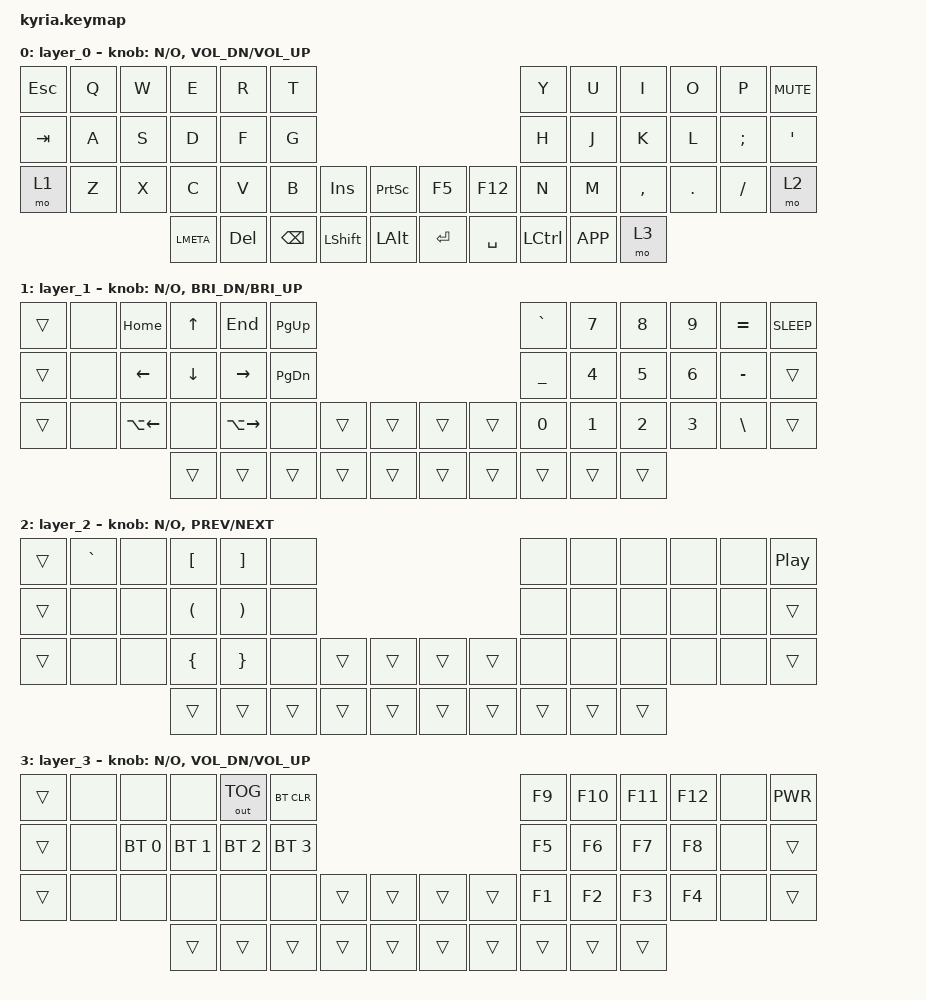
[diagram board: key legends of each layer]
/*
 * Copyright (c) 2020 The ZMK Contributors
 *
 * SPDX-License-Identifier: MIT
 */

#include <behaviors.dtsi>
#include <dt-bindings/zmk/keys.h>
#include <dt-bindings/zmk/bt.h>
#include <dt-bindings/zmk/outputs.h>

// Remap the bad row-0 pin on right board:
// See: https://discord.com/channels/675924128108118016/741329942771662909/1210262459915702343
// Copied from: https://github.com/zmkfirmware/zmk/tree/main/app/boards/shields/kyria/
// files: 
&kscan0 {
	row-gpios =
		// Changed "&pro_micro 4" to "&pro_micro 3", trying to use the unused SCL pin
		// Since the D4 pin for row 0 is dead.
		// The pin is labelled SCL/D0 on the PCB backside, and 020 on the controller, D3 on pinout.
		// Then I plan to just short D3 and row 0 and hope it works.
		<&pro_micro 3 (GPIO_ACTIVE_HIGH | GPIO_PULL_DOWN)>,
		<&pro_micro 5 (GPIO_ACTIVE_HIGH | GPIO_PULL_DOWN)>,
		<&pro_micro 6 (GPIO_ACTIVE_HIGH | GPIO_PULL_DOWN)>,
		<&pro_micro 7 (GPIO_ACTIVE_HIGH | GPIO_PULL_DOWN)>;
};


/* &bt (bluetooth) reference
 * BT_CLR	Clear bond information between the keyboard and host for the selected profile.
 * BT_NXT	Switch to the next profile, cycling through to the first one when the end is reached.
 * BT_PRV	Switch to the previous profile, cycling through to the last one when the beginning is reached.
 * BT_SEL	Select the 0-indexed profile by number. Please note: this definition must include a number as an argument in the keymap to work correctly. eg. BT_SEL 0
 */

// keymap info: https://zmk.dev/docs/features/keymaps
// keymap codes: https://zmk.dev/docs/codes

/ {
// 	// example combos from docs:
// 	combos {
// 		compatible = "zmk,combos";
// 		combo_esc {
// 			timeout-ms = <50>;
// 			key-positions = <0 1>;
// 			bindings = <&kp ESC>;
// 		};
// 	};
	
	// make it so that holding both layers 1 and 2 becomes layer 3
	conditional_layers {
		compatible = "zmk,conditional-layers";
		tri_layer {
			if-layers = <1 2>;
			then-layer = <3>;
		};
	};
	
	keymap {
// no I'm not tabbing these an extra 8-16 characters longer than they already are
compatible = "zmk,keymap";



layer_0 { // the default layer
bindings = <
// ╭──────────┬──────────┬──────────┬──────────┬──────────┬──────────╮                                               ╭──────────┬──────────┬──────────┬──────────┬──────────┬──────────╮
     &kp ESC     &kp Q      &kp W      &kp E      &kp R      &kp T                                                      &kp Y      &kp U      &kp I      &kp O      &kp P    &kp C_MUTE
// ├──────────┼──────────┼──────────┼──────────┼──────────┼──────────┤                                               ├──────────┼──────────┼──────────┼──────────┼──────────┼──────────┤
     &kp TAB     &kp A      &kp S      &kp D      &kp F      &kp G                                                      &kp H      &kp J      &kp K      &kp L     &kp SEMI   &kp SQT
// ├──────────┼──────────┼──────────┼──────────┼──────────┼──────────┼──────────┬──────────╮   ╭──────────┬──────────┼──────────┼──────────┼──────────┼──────────┼──────────┼──────────┤
      &mo 1      &kp Z      &kp X      &kp C      &kp V      &kp B     &kp INS   &kp PSCRN        &kp F5    &kp F12     &kp N      &kp M    &kp COMMA   &kp DOT    &kp FSLH    &mo 2
// ╰──────────┴──────────┴──────────┼──────────┼──────────┼──────────┼──────────┼──────────┤   ├──────────┼──────────┼──────────┼──────────┼──────────┼──────────┴──────────┴──────────╯
                                     &kp LMETA   &kp DEL    &kp BSPC  &kp LSHFT   &kp LALT      &kp ENTER  &kp SPACE  &kp LCTRL  &kp K_APP    &mo 3
//                                  ╰──────────┴──────────┴──────────┴──────────┴──────────╯   ╰──────────┴──────────┴──────────┴──────────┴──────────╯
>;
sensor-bindings = <&inc_dec_kp N O &inc_dec_kp C_VOL_DN C_VOL_UP>; // volume up/down and mute (knob is on top right corner - NO left side knob)
};



layer_1 { // navigation and numbers (includes symbols on numbers, although some will be repeated elsewhere)
bindings = <
// ╭──────────┬──────────┬──────────┬──────────┬──────────┬──────────╮                                               ╭──────────┬──────────┬──────────┬──────────┬──────────┬──────────╮
      &trans     &none     &kp HOME    &kp UP    &kp END   &kp PG_UP                                                  &kp GRAVE    &kp N7     &kp N8     &kp N9   &kp EQUAL &kp C_SLEEP
// ├──────────┼──────────┼──────────┼──────────┼──────────┼──────────┤                                               ├──────────┼──────────┼──────────┼──────────┼──────────┼──────────┤
      &trans     &none     &kp LEFT   &kp DOWN  &kp RIGHT  &kp PG_DN                                                  &kp UNDER    &kp N4     &kp N5     &kp N6   &kp MINUS    &trans
// ├──────────┼──────────┼──────────┼──────────┼──────────┼──────────┼──────────┬──────────╮   ╭──────────┬──────────┼──────────┼──────────┼──────────┼──────────┼──────────┼──────────┤
      &trans     &none   &kp LA(LEFT)  &none   &kp LA(RIGHT) &none      &trans     &trans         &trans     &trans     &kp N0     &kp N1     &kp N2     &kp N3    &kp BSLH    &trans
// ╰──────────┴──────────┴──────────┼──────────┼──────────┼──────────┼──────────┼──────────┤   ├──────────┼──────────┼──────────┼──────────┼──────────┼──────────┴──────────┴──────────╯
                                       &trans     &trans     &trans     &trans     &trans         &trans     &trans     &trans     &trans     &trans
//                                  ╰──────────┴──────────┴──────────┴──────────┴──────────╯   ╰──────────┴──────────┴──────────┴──────────┴──────────╯
>;
sensor-bindings = <&inc_dec_kp N O &inc_dec_kp C_BRI_DN C_BRI_UP>; // brightness and sleep
};


layer_2 { // braces and parens
bindings = <
// ╭──────────┬──────────┬──────────┬──────────┬──────────┬──────────╮                                               ╭──────────┬──────────┬──────────┬──────────┬──────────┬──────────╮
      &trans   &kp GRAVE    &none     &kp LBKT   &kp RBKT    &none                                                      &none      &none      &none      &none      &none     &kp C_PP
// ├──────────┼──────────┼──────────┼──────────┼──────────┼──────────┤                                               ├──────────┼──────────┼──────────┼──────────┼──────────┼──────────┤
      &trans     &none      &none     &kp LPAR   &kp RPAR    &none                                                      &none      &none      &none      &none      &none      &trans
// ├──────────┼──────────┼──────────┼──────────┼──────────┼──────────┼──────────┬──────────╮   ╭──────────┬──────────┼──────────┼──────────┼──────────┼──────────┼──────────┼──────────┤
      &trans     &none      &none     &kp LBRC   &kp RBRC    &none      &trans     &trans         &trans     &trans     &none      &none      &none      &none      &none      &trans
// ╰──────────┴──────────┴──────────┼──────────┼──────────┼──────────┼──────────┼──────────┤   ├──────────┼──────────┼──────────┼──────────┼──────────┼──────────┴──────────┴──────────╯
                                       &trans     &trans     &trans     &trans     &trans         &trans     &trans     &trans     &trans     &trans
//                                  ╰──────────┴──────────┴──────────┴──────────┴──────────╯   ╰──────────┴──────────┴──────────┴──────────┴──────────╯
>;
sensor-bindings = <&inc_dec_kp N O &inc_dec_kp C_PREV C_NEXT>; // skip/rewind tracks and pause/play (C_PP)
};



layer_3 { // funciton keys and bluetooth
bindings = <
// ╭──────────┬──────────┬──────────┬──────────┬──────────┬──────────╮                                               ╭──────────┬──────────┬──────────┬──────────┬──────────┬──────────╮
      &trans     &none      &none      &none   &out OUT_TOG &bt BT_CLR                                                  &kp F9     &kp F10    &kp F11    &kp F12     &none    &kp C_PWR
// ├──────────┼──────────┼──────────┼──────────┼──────────┼──────────┤                                               ├──────────┼──────────┼──────────┼──────────┼──────────┼──────────┤
      &trans    &none  &bt BT_SEL 0 &bt BT_SEL 1 &bt BT_SEL 2 &bt BT_SEL 3                                              &kp F5     &kp F6     &kp F7     &kp F8     &none      &trans
// ├──────────┼──────────┼──────────┼──────────┼──────────┼──────────┼──────────┬──────────╮   ╭──────────┬──────────┼──────────┼──────────┼──────────┼──────────┼──────────┼──────────┤
      &trans     &none      &none      &none      &none      &none      &trans     &trans         &trans     &trans     &kp F1     &kp F2     &kp F3     &kp F4     &none      &trans
// ╰──────────┴──────────┴──────────┼──────────┼──────────┼──────────┼──────────┼──────────┤   ├──────────┼──────────┼──────────┼──────────┼──────────┼──────────┴──────────┴──────────╯
                                       &trans     &trans     &trans     &trans     &trans         &trans     &trans     &trans     &trans     &trans
//                                  ╰──────────┴──────────┴──────────┴──────────┴──────────╯   ╰──────────┴──────────┴──────────┴──────────┴──────────╯
>;
sensor-bindings = <&inc_dec_kp N O &inc_dec_kp C_VOL_DN C_VOL_UP>; // brightness and power-off
};



}; // END keymap
}; // END /
